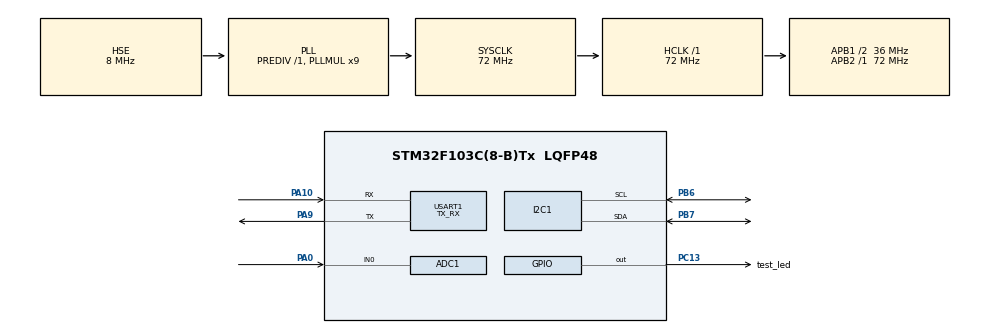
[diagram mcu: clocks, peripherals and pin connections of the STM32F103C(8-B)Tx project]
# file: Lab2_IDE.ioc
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ADC1.Channel-1\#ChannelRegularConversion=ADC_CHANNEL_0
ADC1.ContinuousConvMode=ENABLE
ADC1.NbrOfConversionFlag=1
ADC1.Rank-1\#ChannelRegularConversion=1
ADC1.SamplingTime-1\#ChannelRegularConversion=ADC_SAMPLETIME_239CYCLES_5
ADC1.master=1
Mcu.Family=STM32F1
Mcu.Name=STM32F103C(8-B)Tx
Mcu.Package=LQFP48
NVIC.ADC1_2_IRQn=true\:0\:0\:false\:false\:true\:true\:true\:true
NVIC.I2C1_ER_IRQn=true\:0\:0\:false\:false\:true\:true\:true\:true
NVIC.I2C1_EV_IRQn=true\:0\:0\:false\:false\:true\:true\:true\:true
NVIC.PriorityGroup=NVIC_PRIORITYGROUP_4
NVIC.USART1_IRQn=true\:0\:0\:false\:false\:true\:true\:true\:true
PA0-WKUP.Signal=ADCx_IN0
PA10.Mode=Asynchronous
PA10.Signal=USART1_RX
PA13.Mode=Serial_Wire
PA13.Signal=SYS_JTMS-SWDIO
PA14.Mode=Serial_Wire
PA14.Signal=SYS_JTCK-SWCLK
PA9.Mode=Asynchronous
PA9.Signal=USART1_TX
PB6.Mode=I2C
PB6.Signal=I2C1_SCL
PB7.Mode=I2C
PB7.Signal=I2C1_SDA
PC13-TAMPER-RTC.GPIO_Label=test_led
PC13-TAMPER-RTC.Signal=GPIO_Output
PD0-OSC_IN.Mode=HSE-External-Oscillator
PD0-OSC_IN.Signal=RCC_OSC_IN
PD1-OSC_OUT.Mode=HSE-External-Oscillator
PD1-OSC_OUT.Signal=RCC_OSC_OUT
ProjectManager.HeapSize=0x200
ProjectManager.StackSize=0x400
ProjectManager.TargetToolchain=STM32CubeIDE
RCC.ADCPresc=RCC_ADCPCLK2_DIV6
RCC.AHBFreq_Value=72000000
RCC.APB1CLKDivider=RCC_HCLK_DIV2
RCC.APB1Freq_Value=36000000
RCC.APB1TimFreq_Value=72000000
RCC.APB2Freq_Value=72000000
RCC.APB2TimFreq_Value=72000000
RCC.HCLKFreq_Value=72000000
RCC.PLLMUL=RCC_PLL_MUL9
RCC.PLLSourceVirtual=RCC_PLLSOURCE_HSE
RCC.SYSCLKFreq_VALUE=72000000
RCC.SYSCLKSource=RCC_SYSCLKSOURCE_PLLCLK
RCC.USBFreq_Value=72000000
SH.ADCx_IN0.0=ADC1_IN0,IN0
USART1.Mode=MODE_TX_RX
USART1.VirtualMode=VM_ASYNC
board=custom

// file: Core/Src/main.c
/* USER CODE BEGIN Header */
/**
  ******************************************************************************
  * @file           : main.c
  * @brief          : Main program body
  ******************************************************************************
  * @attention
  *
  * Copyright (c) 2023 STMicroelectronics.
  * All rights reserved.
  *
  * This software is licensed under terms that can be found in the LICENSE file
  * in the root directory of this software component.
  * If no LICENSE file comes with this software, it is provided AS-IS.
  *
  ******************************************************************************
  */
/* USER CODE END Header */
#include "main.h"

/* USER CODE BEGIN Includes */

#include <stdio.h>
#include "INA219.h"

/* USER CODE END Includes */

ADC_HandleTypeDef hadc1;

I2C_HandleTypeDef hi2c1;

UART_HandleTypeDef huart1;

/* USER CODE BEGIN PV */

float mTemp = 0.0f;
float vADC = 0.0f;

INA219_t ina219;

float vbus = 0.0f, vshunt = 0.0f, current = 0.0f, power = 0.0f;

/* USER CODE END PV */

void SystemClock_Config(void);
static void MX_GPIO_Init(void);
static void MX_ADC1_Init(void);
static void MX_I2C1_Init(void);
static void MX_USART1_UART_Init(void);
/* USER CODE BEGIN PFP */

#ifdef __GNUC__
#define PUTCHAR_PROTOTYPE int __io_putchar(int ch)
#else
#define PUTCHAR_PROTOTYPE int fputc(int ch, FILE *f)
#endif

PUTCHAR_PROTOTYPE
{
  HAL_UART_Transmit(&huart1, (uint8_t *)&ch, 1, HAL_MAX_DELAY);
  return ch;
}

/* USER CODE END PFP */

/* USER CODE BEGIN 0 */

void HAL_ADC_ConvCpltCallback(ADC_HandleTypeDef* hadc)
{
  if (hadc->Instance == hadc1.Instance)
  {
    vADC = (float)HAL_ADC_GetValue(&hadc1) * 3.3f / 4096.0f;
    mTemp = vADC / 0.01f;
  }
}

/* USER CODE END 0 */

int main(void)
{

  /* MCU Configuration--------------------------------------------------------*/

  /* Reset of all peripherals, Initializes the Flash interface and the Systick. */
  HAL_Init();

  /* Configure the system clock */
  SystemClock_Config();

  /* Initialize all configured peripherals */
  MX_GPIO_Init();
  MX_ADC1_Init();
  MX_I2C1_Init();
  MX_USART1_UART_Init();
  /* USER CODE BEGIN 2 */
  HAL_ADC_Start_IT(&hadc1);

  while(!INA219_Init(&ina219, &hi2c1, INA219_ADDRESS))
  {
    printf("INA219 not found!\r\n");
    HAL_Delay(1000);
  }

  /* USER CODE END 2 */

  /* Infinite loop */
  while (1)
  {

    /* USER CODE BEGIN 3 */
    vbus = (float)INA219_ReadBusVoltage_V(&ina219);
    vshunt = (float)INA219_ReadShuntVolage_mV(&ina219);
    current = (float)INA219_ReadCurrent_mA(&ina219);
    power = (float)INA219_ReadPower_mW(&ina219);
    printf("Temperature: %.2f C\r\n", mTemp);
    printf("Bus Voltage: %.2f V\r\n", vbus);
    printf("Shunt Voltage: %.2f mV\r\n", vshunt);
    printf("Current: %.2f mA\r\n", current);
    printf("Power: %.2f mW\r\n", power);
	HAL_GPIO_TogglePin(test_led_GPIO_Port, test_led_Pin);
	HAL_Delay(1000);
  }
  /* USER CODE END 3 */
}

void SystemClock_Config(void)
{
  RCC_OscInitTypeDef RCC_OscInitStruct = {0};
  RCC_ClkInitTypeDef RCC_ClkInitStruct = {0};
  RCC_PeriphCLKInitTypeDef PeriphClkInit = {0};

  /** Initializes the RCC Oscillators according to the specified parameters
  * in the RCC_OscInitTypeDef structure.
  */
  RCC_OscInitStruct.OscillatorType = RCC_OSCILLATORTYPE_HSE;
  RCC_OscInitStruct.HSEState = RCC_HSE_ON;
  RCC_OscInitStruct.HSEPredivValue = RCC_HSE_PREDIV_DIV1;
  RCC_OscInitStruct.HSIState = RCC_HSI_ON;
  RCC_OscInitStruct.PLL.PLLState = RCC_PLL_ON;
  RCC_OscInitStruct.PLL.PLLSource = RCC_PLLSOURCE_HSE;
  RCC_OscInitStruct.PLL.PLLMUL = RCC_PLL_MUL9;
  if (HAL_RCC_OscConfig(&RCC_OscInitStruct) != HAL_OK)
  {
    Error_Handler();
  }

  /** Initializes the CPU, AHB and APB buses clocks
  */
  RCC_ClkInitStruct.ClockType = RCC_CLOCKTYPE_HCLK|RCC_CLOCKTYPE_SYSCLK
                              |RCC_CLOCKTYPE_PCLK1|RCC_CLOCKTYPE_PCLK2;
  RCC_ClkInitStruct.SYSCLKSource = RCC_SYSCLKSOURCE_PLLCLK;
  RCC_ClkInitStruct.AHBCLKDivider = RCC_SYSCLK_DIV1;
  RCC_ClkInitStruct.APB1CLKDivider = RCC_HCLK_DIV2;
  RCC_ClkInitStruct.APB2CLKDivider = RCC_HCLK_DIV1;

  if (HAL_RCC_ClockConfig(&RCC_ClkInitStruct, FLASH_LATENCY_2) != HAL_OK)
  {
    Error_Handler();
  }
  PeriphClkInit.PeriphClockSelection = RCC_PERIPHCLK_ADC;
  PeriphClkInit.AdcClockSelection = RCC_ADCPCLK2_DIV6;
  if (HAL_RCCEx_PeriphCLKConfig(&PeriphClkInit) != HAL_OK)
  {
    Error_Handler();
  }
}

static void MX_ADC1_Init(void)
{

  ADC_ChannelConfTypeDef sConfig = {0};

  /** Common config
  */
  hadc1.Instance = ADC1;
  hadc1.Init.ScanConvMode = ADC_SCAN_DISABLE;
  hadc1.Init.ContinuousConvMode = ENABLE;
  hadc1.Init.DiscontinuousConvMode = DISABLE;
  hadc1.Init.ExternalTrigConv = ADC_SOFTWARE_START;
  hadc1.Init.DataAlign = ADC_DATAALIGN_RIGHT;
  hadc1.Init.NbrOfConversion = 1;
  if (HAL_ADC_Init(&hadc1) != HAL_OK)
  {
    Error_Handler();
  }

  /** Configure Regular Channel
  */
  sConfig.Channel = ADC_CHANNEL_0;
  sConfig.Rank = ADC_REGULAR_RANK_1;
  sConfig.SamplingTime = ADC_SAMPLETIME_239CYCLES_5;
  if (HAL_ADC_ConfigChannel(&hadc1, &sConfig) != HAL_OK)
  {
    Error_Handler();
  }

}

static void MX_I2C1_Init(void)
{

  hi2c1.Instance = I2C1;
  hi2c1.Init.ClockSpeed = 100000;
  hi2c1.Init.DutyCycle = I2C_DUTYCYCLE_2;
  hi2c1.Init.OwnAddress1 = 0;
  hi2c1.Init.AddressingMode = I2C_ADDRESSINGMODE_7BIT;
  hi2c1.Init.DualAddressMode = I2C_DUALADDRESS_DISABLE;
  hi2c1.Init.OwnAddress2 = 0;
  hi2c1.Init.GeneralCallMode = I2C_GENERALCALL_DISABLE;
  hi2c1.Init.NoStretchMode = I2C_NOSTRETCH_DISABLE;
  if (HAL_I2C_Init(&hi2c1) != HAL_OK)
  {
    Error_Handler();
  }

}

static void MX_USART1_UART_Init(void)
{

  huart1.Instance = USART1;
  huart1.Init.BaudRate = 115200;
  huart1.Init.WordLength = UART_WORDLENGTH_8B;
  huart1.Init.StopBits = UART_STOPBITS_1;
  huart1.Init.Parity = UART_PARITY_NONE;
  huart1.Init.Mode = UART_MODE_TX_RX;
  huart1.Init.HwFlowCtl = UART_HWCONTROL_NONE;
  huart1.Init.OverSampling = UART_OVERSAMPLING_16;
  if (HAL_UART_Init(&huart1) != HAL_OK)
  {
    Error_Handler();
  }

}

static void MX_GPIO_Init(void)
{
  GPIO_InitTypeDef GPIO_InitStruct = {0};

  /* GPIO Ports Clock Enable */
  __HAL_RCC_GPIOC_CLK_ENABLE();
  __HAL_RCC_GPIOD_CLK_ENABLE();
  __HAL_RCC_GPIOA_CLK_ENABLE();
  __HAL_RCC_GPIOB_CLK_ENABLE();

  /*Configure GPIO pin Output Level */
  HAL_GPIO_WritePin(test_led_GPIO_Port, test_led_Pin, GPIO_PIN_RESET);

  /*Configure GPIO pin : test_led_Pin */
  GPIO_InitStruct.Pin = test_led_Pin;
  GPIO_InitStruct.Mode = GPIO_MODE_OUTPUT_PP;
  GPIO_InitStruct.Pull = GPIO_NOPULL;
  GPIO_InitStruct.Speed = GPIO_SPEED_FREQ_LOW;
  HAL_GPIO_Init(test_led_GPIO_Port, &GPIO_InitStruct);

}

void Error_Handler(void)
{
  __disable_irq();
  while (1)
  {
  }
}
